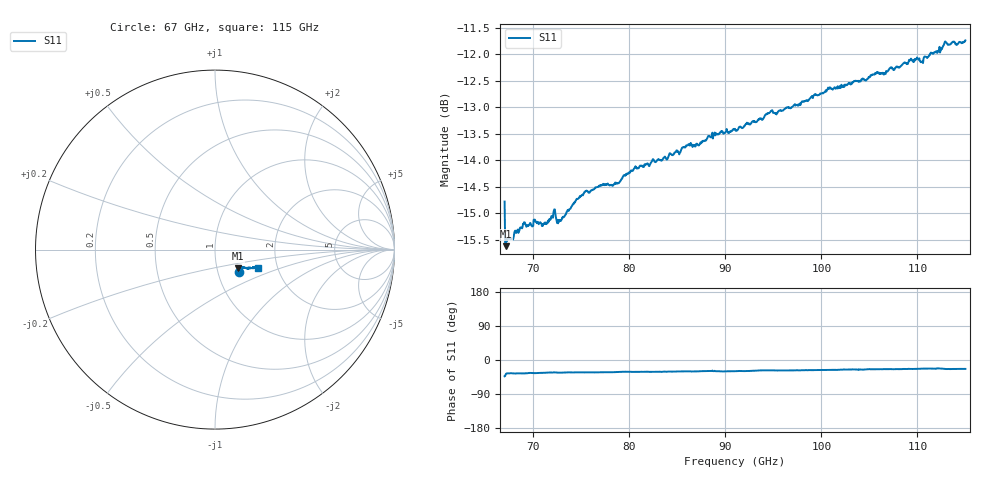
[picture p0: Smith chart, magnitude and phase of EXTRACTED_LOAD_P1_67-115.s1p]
! Generated by Phase I extraction
# Hz S RI R 50
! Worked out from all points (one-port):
!   1001 points, 67 GHz to 115 GHz, reference 50 ohm
!   lowest |S11| = -15.6 dB at 67.1 GHz (marker M1), VSWR 1.40, Z = 63.1 - j13.6 ohm
!   |S11| at or under -10 dB: start of sweep to end of sweep
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6.7e10  0.1334 -0.1244
6.7096e10  0.1285 -0.1044
6.7336e10  0.1374 -0.0971
6.8968e10  0.1419 -0.1002
7.0264e10  0.144 -0.0988
7.1128e10  0.1447 -0.0968
7.2088e10  0.1494 -0.0967
7.2616e10  0.1462 -0.0967
7.3e10  0.1474 -0.0965
7.5448e10  0.157 -0.1006
7.9e10  0.1622 -0.0997
8.0488e10  0.1673 -0.102
8.5e10  0.1759 -0.1019
8.6152e10  0.1785 -0.104
8.7304e10  0.1793 -0.1024
8.8408e10  0.1829 -0.1029
8.9704e10  0.1836 -0.1066
9.1e10  0.1859 -0.1052
9.3928e10  0.194 -0.1001
9.4648e10  0.1966 -0.1017
9.7e10  0.1989 -0.1034
1.00792e11  0.2094 -0.102
1.03e11  0.2131 -0.1009
1.09e11  0.2252 -0.0987
1.10488e11  0.2277 -0.0959
1.12264e11  0.2347 -0.0959
1.13128e11  0.2348 -0.1038
1.15e11  0.2373 -0.1032
